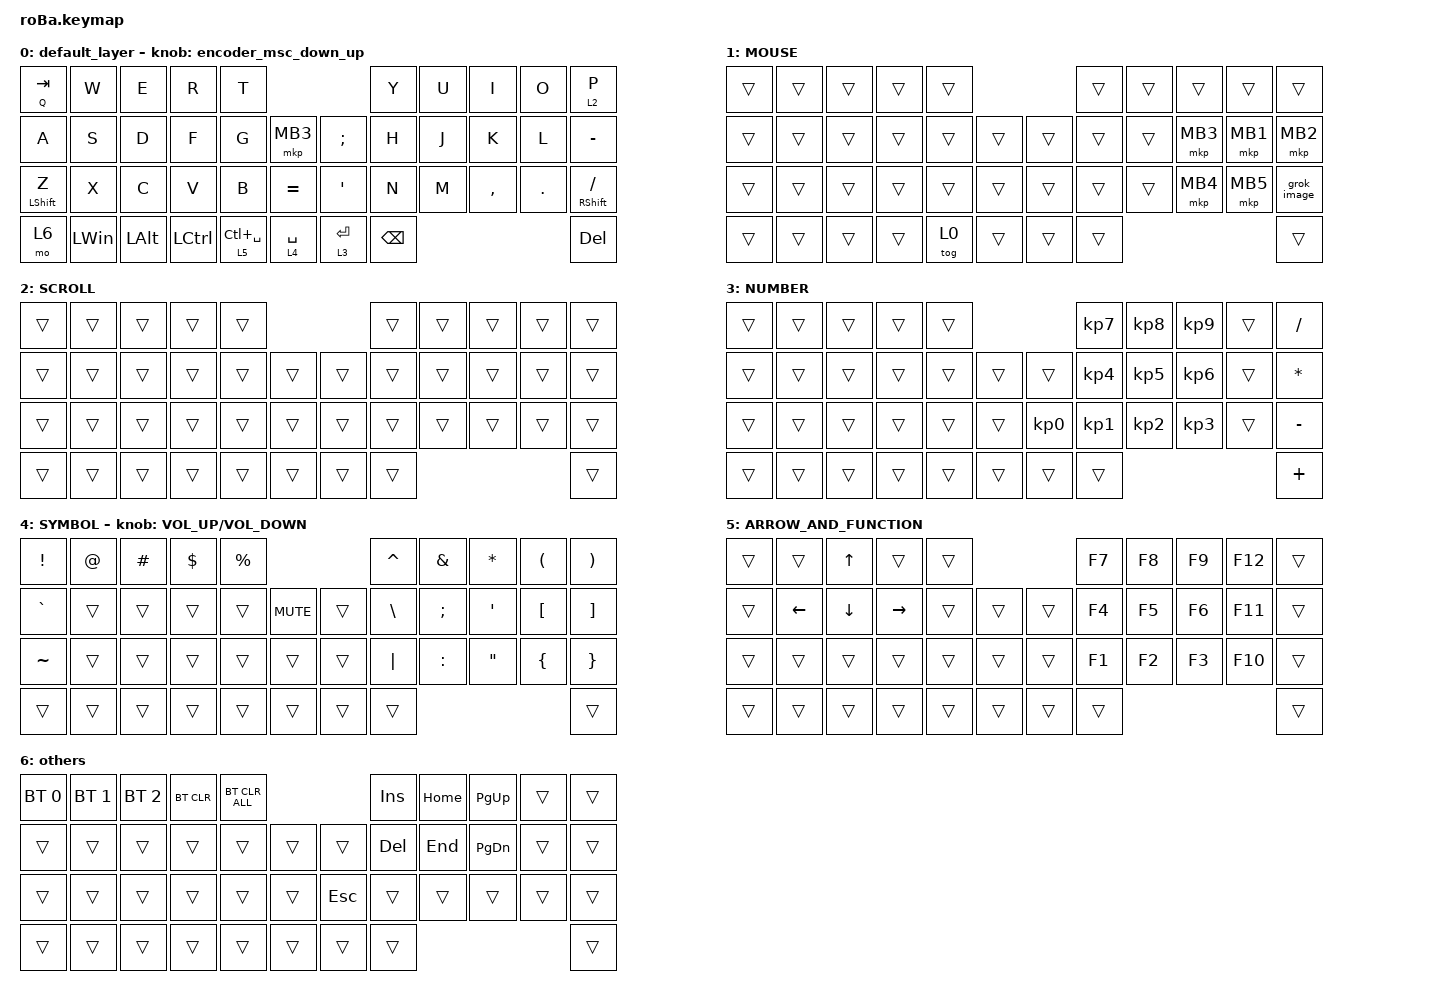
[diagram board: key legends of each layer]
#include <behaviors.dtsi>
#include <dt-bindings/zmk/bt.h>
#include <dt-bindings/zmk/keys.h>
#include <dt-bindings/zmk/pointing.h>

#define ZMK_POINTING_DEFAULT_SCRL_VAL 80

/ {
    behaviors {
        encoder_msc_down_up: encoder_msc_down_up {
            compatible = "zmk,behavior-sensor-rotate";
            label = "ENCODER_MSC_DOWN_UP";
            #sensor-binding-cells = <0>;
            bindings = <&msc SCRL_UP>, <&msc SCRL_DOWN>;

            tap-ms = <20>;
        };
    };
};

&mt {
    flavor = "balanced";
    quick-tap-ms = <0>;
};

&trackball {
    automouse-layer = <1>;
    scroll-layers = <2>;

    // arrows {
    //     layers = <3>;
    //     bindings =
    //         <&kp RIGHT_ARROW>,
    //         <&kp LEFT_ARROW>,
    //         <&kp UP_ARROW>,
    //         <&kp DOWN_ARROW>;
    //     tick = <10>;
    //     wait-ms = <5>;
    //     tap-ms = <5>;
    // };
};

/ {
    combos { compatible = "zmk,combos"; };

    behaviors {
    };

    macros {
        grok_image: grok_image {
            compatible = "zmk,behavior-macro";
            #binding-cells = <0>;
            bindings = <&mkp MB1 &kp LC(A) &kp LC(V) &kp ENTER &mkp MB1 &kp LC(A) &kp LC(V) &kp ENTER &mkp MB1 &kp LC(A) &kp LC(V) &kp ENTER &mkp MB1 &kp LC(A) &kp LC(V) &kp ENTER &mkp MB1 &kp LC(A) &kp LC(V) &kp ENTER>;
            label = "GROK_IMAGE";
            tap-ms = <700>;
        };
    };

    keymap {
        compatible = "zmk,keymap";

        default_layer {
            bindings = <
&mt Q TAB         &kp W         &kp E         &kp R      &kp T                                            &kp Y          &kp U  &kp I      &kp O    &lt 2 P
&kp A             &kp S         &kp D         &kp F      &kp G            &mkp MB3         &kp SEMICOLON  &kp H          &kp J  &kp K      &kp L    &kp MINUS
&mt LEFT_SHIFT Z  &kp X         &kp C         &kp V      &kp B            &kp EQUAL        &kp SQT        &kp N          &kp M  &kp COMMA  &kp DOT  &mt RIGHT_SHIFT SLASH
&mo 6             &kp LEFT_WIN  &kp LEFT_ALT  &kp LCTRL  &lt 5 LC(SPACE)  &lt 4 SPACE      &lt 3 RETURN   &kp BACKSPACE                             &kp DEL
            >;

            sensor-bindings = <&encoder_msc_down_up>;
        };

        MOUSE {
            bindings = <
&trans  &trans  &trans  &trans  &trans                      &trans  &trans  &trans    &trans    &trans
&trans  &trans  &trans  &trans  &trans  &trans      &trans  &trans  &trans  &mkp MB3  &mkp MB1  &mkp MB2
&trans  &trans  &trans  &trans  &trans  &trans      &trans  &trans  &trans  &mkp MB4  &mkp MB5  &grok_image
&trans  &trans  &trans  &trans  &tog 0  &trans      &trans  &trans                              &trans
            >;
        };

        SCROLL {
            bindings = <
&trans  &trans  &trans  &trans  &trans                      &trans  &trans  &trans  &trans  &trans
&trans  &trans  &trans  &trans  &trans  &trans      &trans  &trans  &trans  &trans  &trans  &trans
&trans  &trans  &trans  &trans  &trans  &trans      &trans  &trans  &trans  &trans  &trans  &trans
&trans  &trans  &trans  &trans  &trans  &trans      &trans  &trans                          &trans
            >;
        };

        NUMBER {
            bindings = <
&trans  &trans  &trans  &trans  &trans                               &kp KP_NUMBER_7  &kp KP_NUMBER_8  &kp KP_NUMBER_9  &trans  &kp SLASH
&trans  &trans  &trans  &trans  &trans  &trans      &trans           &kp KP_NUMBER_4  &kp KP_NUMBER_5  &kp KP_NUMBER_6  &trans  &kp ASTERISK
&trans  &trans  &trans  &trans  &trans  &trans      &kp KP_NUMBER_0  &kp KP_NUMBER_1  &kp KP_NUMBER_2  &kp KP_NUMBER_3  &trans  &kp MINUS
&trans  &trans  &trans  &trans  &trans  &trans      &trans           &trans                                                     &kp PLUS
            >;
        };

        SYMBOL {
            bindings = <
&kp EXCLAMATION  &kp AT_SIGN  &kp HASH  &kp DOLLAR  &kp PERCENT                          &kp CARET      &kp AMPERSAND  &kp ASTERISK       &kp LEFT_PARENTHESIS  &kp RIGHT_PARENTHESIS
&kp GRAVE        &trans       &trans    &trans      &trans       &kp K_MUTE      &trans  &kp BACKSLASH  &kp SEMICOLON  &kp SQT            &kp LEFT_BRACKET      &kp RIGHT_BRACKET
&kp TILDE        &trans       &trans    &trans      &trans       &trans          &trans  &kp PIPE       &kp COLON      &kp DOUBLE_QUOTES  &kp LEFT_BRACE        &kp RIGHT_BRACE
&trans           &trans       &trans    &trans      &trans       &trans          &trans  &trans                                                                 &trans
            >;

            sensor-bindings = <&inc_dec_kp C_VOLUME_UP C_VOLUME_DOWN>;
        };

        ARROW_AND_FUNCTION {
            bindings = <
&trans  &trans          &kp UP_ARROW    &trans           &trans                      &kp F7  &kp F8  &kp F9  &kp F12  &trans
&trans  &kp LEFT_ARROW  &kp DOWN_ARROW  &kp RIGHT_ARROW  &trans  &trans      &trans  &kp F4  &kp F5  &kp F6  &kp F11  &trans
&trans  &trans          &trans          &trans           &trans  &trans      &trans  &kp F1  &kp F2  &kp F3  &kp F10  &trans
&trans  &trans          &trans          &trans           &trans  &trans      &trans  &trans                           &trans
            >;
        };

        others {
            bindings = <
&bt BT_SEL 0  &bt BT_SEL 1  &bt BT_SEL 2  &bt BT_CLR  &bt BT_CLR_ALL                          &kp INS     &kp HOME  &kp PAGE_UP    &trans  &trans
&trans        &trans        &trans        &trans      &trans          &trans      &trans      &kp DELETE  &kp END   &kp PAGE_DOWN  &trans  &trans
&trans        &trans        &trans        &trans      &trans          &trans      &kp ESCAPE  &trans      &trans    &trans         &trans  &trans
&trans        &trans        &trans        &trans      &trans          &trans      &trans      &trans                                       &trans
            >;
        };
    };
};
